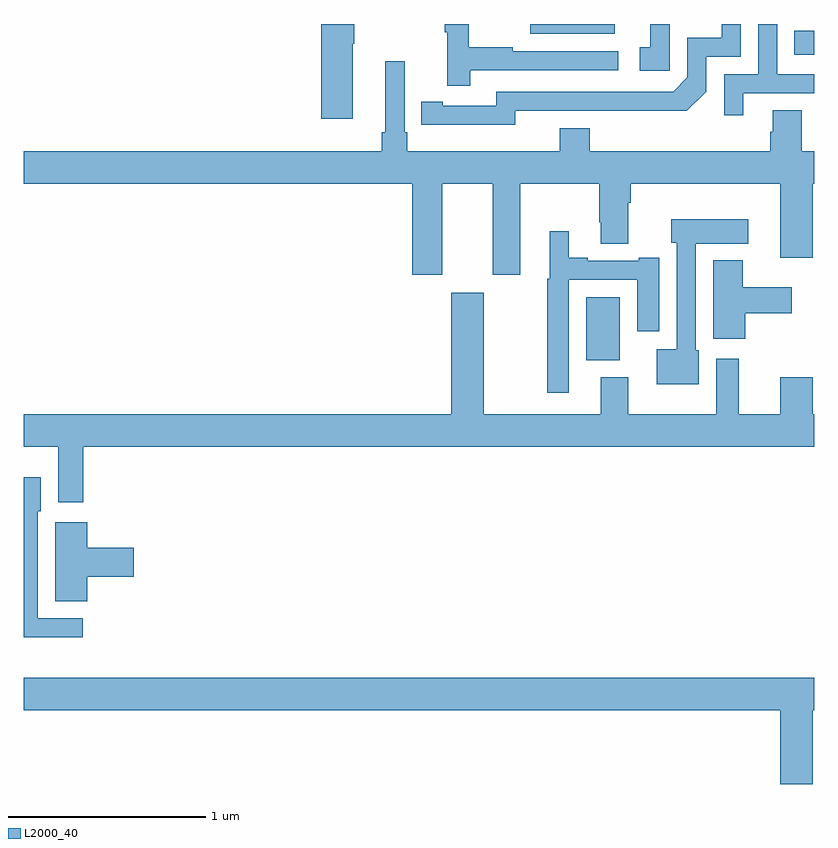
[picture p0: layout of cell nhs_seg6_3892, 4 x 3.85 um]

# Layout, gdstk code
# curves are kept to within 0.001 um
import gdstk
lib = gdstk.Library(unit=1e-6, precision=1e-09)
def R(c, l, rs):  # rectangles x0, y0, x1, y1
    for r in rs: c.add(gdstk.rectangle(r[:2], r[2:], *l))
def P(c, l, *ps):  # polygons
    for p in ps: c.add(gdstk.Polygon(p, *l))
L2000_40 = (2000, 40)

nhs_seg6_3892 = lib.new_cell('nhs_seg6_3892')
R(nhs_seg6_3892, L2000_40, [(343.847,923.798,344.017,924.118), (344.899,925.344,345,925.467), (343.563,925.451,343.99,925.5)])
P(nhs_seg6_3892, L2000_40, [(342.664,925.399),(342.672,925.399),(342.672,925.5),(342.506,925.5),(342.506,925.02),(342.664,925.02)],
  [(343.259,925.266),(344.008,925.266),(344.008,925.362),(343.475,925.362),(343.475,925.382),(343.252,925.382),(343.252,925.5),(343.131,925.5),(343.131,925.459),(343.142,925.459),(343.142,925.188),(343.259,925.188)],
  [(344.268,925.5),(344.171,925.5),(344.171,925.383),(344.118,925.383),(344.118,925.263),(344.268,925.263)],
  [(343.488,925.062),(344.356,925.061),(344.454,925.158),(344.454,925.335),(344.628,925.335),(344.628,925.5),(344.531,925.5),(344.531,925.431),(344.358,925.431),(344.358,925.23),(344.286,925.158),(343.392,925.158),(343.392,925.086),(343.12,925.086),(343.12,925.106),(343.012,925.106),(343.012,924.99),(343.488,924.989)],
  [(344.641,925.149),(345,925.149),(345,925.245),(344.814,925.245),(344.814,925.5),(344.718,925.5),(344.718,925.245),(344.544,925.245),(344.544,925.038),(344.641,925.038)],
  [(342.941,924.952),(342.927,924.952),(342.927,925.312),(342.83,925.312),(342.83,924.952),(342.811,924.952),(342.811,924.856),(341,924.856),(341,924.692),(342.965,924.692),(342.965,924.231),(343.117,924.231),(343.117,924.692),(343.373,924.692),(343.373,924.231),(343.513,924.231),(343.513,924.692),(343.912,924.692),(343.912,924.496),(343.919,924.496),(343.919,924.388),(344.059,924.388),(344.059,924.596),(344.072,924.596),(344.072,924.692),(344.828,924.692),(344.828,924.318),(344.992,924.318),(344.992,924.692),(345,924.692),(345,924.856),(344.937,924.856),(344.937,925.064),(344.789,925.064),(344.789,924.954),(344.777,924.954),(344.777,924.856),(343.865,924.856),(343.865,924.973),(343.712,924.973),(343.712,924.856),(342.941,924.856)],
  [(344.416,923.85),(344.4,923.85),(344.4,924.389),(344.665,924.389),(344.665,924.511),(344.276,924.511),(344.276,924.393),(344.304,924.393),(344.304,923.854),(344.204,923.854),(344.204,923.678),(344.416,923.678)],
  [(343.758,924.207),(344.105,924.207),(344.105,923.946),(344.215,923.946),(344.215,924.316),(344.111,924.316),(344.111,924.303),(343.855,924.303),(343.855,924.316),(343.759,924.316),(343.759,924.451),(343.661,924.451),(343.661,924.21),(343.65,924.21),(343.65,923.634),(343.758,923.634)],
  [(344.651,924.035),(344.887,924.035),(344.887,924.169),(344.638,924.169),(344.638,924.304),(344.489,924.304),(344.489,923.907),(344.651,923.907)],
  [(341.3,923.36),(345,923.36),(345,923.524),(344.992,923.524),(344.992,923.713),(344.828,923.713),(344.828,923.524),(344.617,923.524),(344.617,923.806),(344.504,923.806),(344.504,923.524),(344.059,923.524),(344.059,923.713),(343.919,923.713),(343.919,923.524),(343.327,923.524),(343.327,924.139),(343.163,924.139),(343.163,923.524),(341,923.524),(341,923.36),(341.174,923.36),(341.174,923.079),(341.3,923.079)],
  [(341.299,922.494),(341.07,922.494),(341.07,923.034),(341.086,923.034),(341.086,923.206),(341,923.206),(341,922.397),(341.299,922.397)],
  [(341.321,922.703),(341.557,922.703),(341.557,922.85),(341.321,922.85),(341.321,922.978),(341.159,922.978),(341.159,922.579),(341.321,922.579)],
  [(344.992,922.028),(345,922.028),(345,922.192),(341,922.192),(341,922.028),(344.828,922.028),(344.828,921.654),(344.992,921.654)])

lib.write_gds('nhs_seg6_3892.gds')
